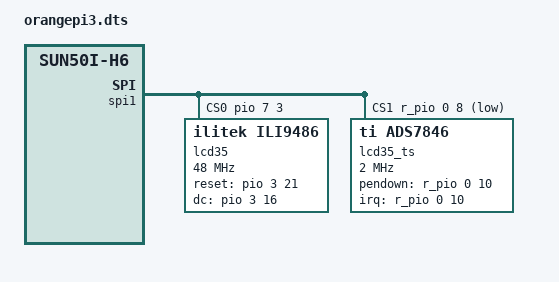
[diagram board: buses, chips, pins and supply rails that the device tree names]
/dts-v1/;
/plugin/;

/ {
    compatible = "allwinner,sun50i-h6";
    
    fragment@0 {
        target = <&r_pio>;
        __overlay__ {
            spi1_cs1_pin: spi1-cs1-pin {
                pins = "PL8";
                function = "gpio_out";
                output-high;
                drive-strength = <20>;
                bias-pull-up;
            };
            touch_pin: touch-pin {
                pins = "PL10";
                function = "gpio_in";
                bias-pull-up;
            };
        };
    };

    fragment@1 {
        target = <&spi1>;
        __overlay__ {
            status = "okay";
            cs-gpios = <&pio 7 3 0>, <&r_pio 0 8 1>;
            num-chipselects = <2>;
            #address-cells = <1>;
            #size-cells = <0>;
            
            lcd35: lcd35@0 {
                compatible = "ilitek,ili9486";
                reg = <0>;
                pinctrl-names = "default", "default";
                
                spi-max-frequency = <48000000>;
                txbuflen = <32768>;
                rotate = <90>;
                bgr = <0>;
                fps = <30>;
                buswidth = <8>;
                regwidth = <16>;
                   
                reset-gpios = <&pio 3 21 0>;  /* PD21, active high */
                dc-gpios = <&pio 3 16 0>;     /* PD16, active high */

                /* ILI9486 init code */
                init = <0x10000b0 0x00
                        0x1000011
                        0x20000ff
                        0x100003a 0x55
                        0x1000036 0x28
                        0x10000c2 0x44
                        0x10000c5 0x00 0x00 0x00 0x00
                        0x10000e0 0x0f 0x1f 0x1c 0x0c 0x0f 0x08 0x48 0x98 0x37 0x0a 0x13 0x04 0x11 0x0d 0x00
                        0x10000e1 0x0f 0x32 0x2e 0x0b 0x0d 0x05 0x47 0x75 0x37 0x06 0x10 0x03 0x24 0x20 0x00
                        0x10000e2 0x0f 0x32 0x2e 0x0b 0x0d 0x05 0x47 0x75 0x37 0x06 0x10 0x03 0x24 0x20 0x00
                        0x1000036 0x28
                        0x1000011
                        0x1000029>;
            };
            
            /* ADS7846 Touch Panel - CS1 (PL8) */
            lcd35_ts: lcd35-ts@1 {
                compatible = "ti,ads7846";
                reg = <1>;
                
                spi-max-frequency = <2000000>;
                
                /* irq pin: change from PD24 to PL10 */
		interrupt-parent = <&r_pio>;
		interrupts = <0 10 2>;
                pendown-gpio = <&r_pio 0 10 2>;

                ti,x-plate-ohms = /bits/ 16 <60>;
                ti,pressure-max = /bits/ 16 <255>;
            };
        };
    };

    __overrides__ {
        speed =         <&lcd35>,"spi-max-frequency:0";
        txbuflen =      <&lcd35>,"txbuflen:0";
        rotate =        <&lcd35>,"rotate:0";
        fps =           <&lcd35>,"fps:0";
        bgr =           <&lcd35>,"bgr:0";
        debug =         <&lcd35>,"debug:0";
        invertx =       <&lcd35_ts>,"touchscreen-inverted-x?";
        inverty =       <&lcd35_ts>,"touchscreen-inverted-y?";
        swapxy =        <&lcd35_ts>,"touchscreen-swapped-x-y?";
    };
};
